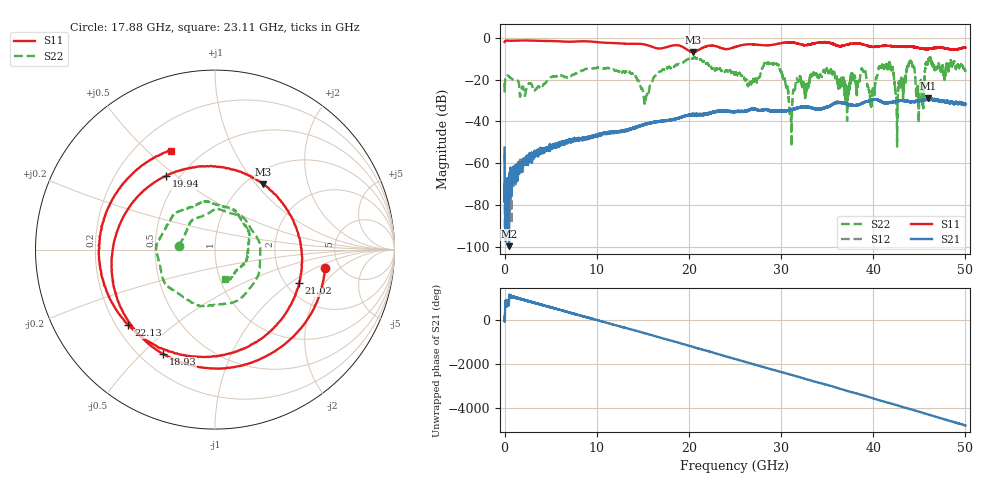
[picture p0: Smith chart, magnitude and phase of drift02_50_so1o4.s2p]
!Created with skrf (http://scikit-rf.org).
# Hz S RI R 50.0
!freq ReS11 ImS11 ReS21 ImS21 ReS12 ImS12 ReS22 ImS22
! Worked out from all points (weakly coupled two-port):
!   10001 points, 300 kHz to 50 GHz, reference 50 ohm
!   highest |S21| = -29.03 dB at 45.97 GHz (marker M1); lowest = -99.6 dB at 480.3 MHz (marker M2)
!   lowest |S11| = -6.9 dB at 20.44 GHz (marker M3), VSWR 2.65, Z = 59.4 + j54.4 ohm
!   |S11| at or under -10 dB: nowhere
!   |S22| runs from -52.1 to -9.3 dB; largest |S21 - S12| = 0.0027
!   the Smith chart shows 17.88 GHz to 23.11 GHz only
!   S11 on the Smith chart (normalised r, x): 17.88 GHz: 3.82, -1.30; 18.93 GHz: 0.29, -0.58; 19.94 GHz: 0.42, +0.46; 21.02 GHz: 2.35, -1.18; 22.13 GHz: 0.25, -0.35; 23.11 GHz: 0.34, +0.60
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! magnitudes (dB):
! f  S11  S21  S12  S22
! 300 kHz  -2.1  -52.5  -55.6  -21.7
! 480.3 MHz  -1.5  -99.6  -68.1  -18.6
! 8.335 GHz  -1.7  -48.1  -48.2  -15.7
! 15.33 GHz  -3.4  -41.1  -41.2  -29.2
! 16.67 GHz  -5.2  -40.1  -40.1  -17.0
! 17.88 GHz  -4.1  -39.5  -39.5  -13.9
! 18.93 GHz  -3.7  -38.4  -38.4  -12.5
! 19.94 GHz  -6.1  -37.1  -37.0  -10.1
! 20.44 GHz  -6.9  -37.1  -37.1  -9.9
! 21.02 GHz  -6.0  -36.8  -36.6  -9.9
! 22.13 GHz  -3.9  -36.1  -36.1  -13.0
! 23.11 GHz  -4.4  -35.1  -35.2  -15.3
! 25 GHz  -4.5  -35.4  -35.5  -17.6
! 29.51 GHz  -3.1  -34.9  -35.2  -12.5
! 31.03 GHz  -2.2  -34.4  -34.6  -36.6
! 33.34 GHz  -3.1  -33.5  -33.6  -18.3
! 38.92 GHz  -3.2  -31.1  -31.1  -16.0
! 39.86 GHz  -4.4  -29.8  -30.1  -27.5
! 41.67 GHz  -3.9  -31.1  -31.0  -13.2
! 42.6 GHz  -4.3  -30.3  -30.1  -46.0
! 45.97 GHz  -5.5  -29.0  -29.3  -10.8
! 50 GHz  -4.8  -31.8  -31.4  -15.8
